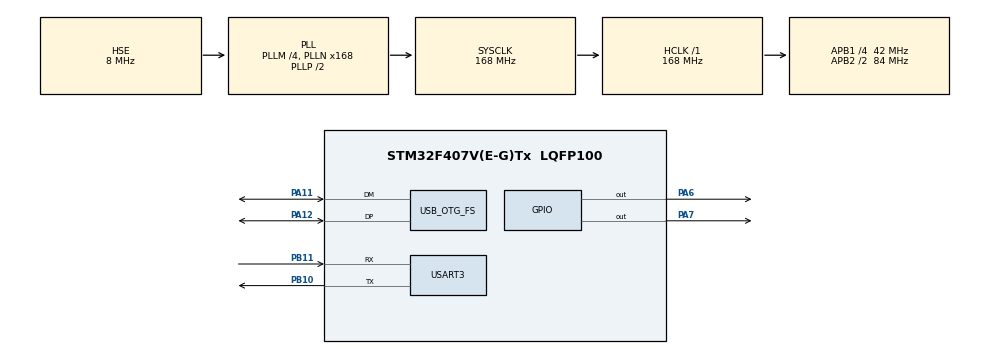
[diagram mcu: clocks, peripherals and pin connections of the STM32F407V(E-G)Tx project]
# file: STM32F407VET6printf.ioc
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Dma.Request0=USART3_RX
Dma.Request1=USART3_TX
Dma.USART3_RX.0.Direction=DMA_PERIPH_TO_MEMORY
Dma.USART3_RX.0.FIFOMode=DMA_FIFOMODE_DISABLE
Dma.USART3_RX.0.Instance=DMA1_Stream1
Dma.USART3_RX.0.MemDataAlignment=DMA_MDATAALIGN_BYTE
Dma.USART3_RX.0.MemInc=DMA_MINC_ENABLE
Dma.USART3_RX.0.Mode=DMA_NORMAL
Dma.USART3_RX.0.PeriphDataAlignment=DMA_PDATAALIGN_BYTE
Dma.USART3_RX.0.PeriphInc=DMA_PINC_DISABLE
Dma.USART3_RX.0.Priority=DMA_PRIORITY_LOW
Dma.USART3_TX.1.Direction=DMA_MEMORY_TO_PERIPH
Dma.USART3_TX.1.FIFOMode=DMA_FIFOMODE_DISABLE
Dma.USART3_TX.1.Instance=DMA1_Stream3
Dma.USART3_TX.1.MemDataAlignment=DMA_MDATAALIGN_BYTE
Dma.USART3_TX.1.MemInc=DMA_MINC_ENABLE
Dma.USART3_TX.1.Mode=DMA_NORMAL
Dma.USART3_TX.1.PeriphDataAlignment=DMA_PDATAALIGN_BYTE
Dma.USART3_TX.1.PeriphInc=DMA_PINC_DISABLE
Dma.USART3_TX.1.Priority=DMA_PRIORITY_LOW
Mcu.Family=STM32F4
Mcu.Name=STM32F407V(E-G)Tx
Mcu.Package=LQFP100
NVIC.DMA1_Stream1_IRQn=true\:0\:0\:false\:false\:true\:false\:true
NVIC.DMA1_Stream3_IRQn=true\:0\:0\:false\:false\:true\:false\:true
NVIC.OTG_FS_IRQn=true\:0\:0\:false\:false\:true\:false\:true
NVIC.PriorityGroup=NVIC_PRIORITYGROUP_4
NVIC.USART3_IRQn=true\:0\:0\:false\:false\:true\:true\:true
PA11.Mode=Device_Only
PA11.Signal=USB_OTG_FS_DM
PA12.Mode=Device_Only
PA12.Signal=USB_OTG_FS_DP
PA13.Mode=Serial_Wire
PA13.Signal=SYS_JTMS-SWDIO
PA14.Mode=Serial_Wire
PA14.Signal=SYS_JTCK-SWCLK
PA6.GPIO_PuPd=GPIO_PULLUP
PA6.Signal=GPIO_Output
PA7.GPIO_PuPd=GPIO_PULLUP
PA7.Signal=GPIO_Output
PB10.Mode=Asynchronous
PB10.Signal=USART3_TX
PB11.Mode=Asynchronous
PB11.Signal=USART3_RX
PH0-OSC_IN.Mode=HSE-External-Oscillator
PH0-OSC_IN.Signal=RCC_OSC_IN
PH1-OSC_OUT.Mode=HSE-External-Oscillator
PH1-OSC_OUT.Signal=RCC_OSC_OUT
ProjectManager.HeapSize=0x400
ProjectManager.StackSize=0x800
ProjectManager.TargetToolchain=MDK-ARM V5.27
RCC.48MHZClocksFreq_Value=48000000
RCC.AHBFreq_Value=168000000
RCC.APB1CLKDivider=RCC_HCLK_DIV4
RCC.APB1Freq_Value=42000000
RCC.APB1TimFreq_Value=84000000
RCC.APB2CLKDivider=RCC_HCLK_DIV2
RCC.APB2Freq_Value=84000000
RCC.APB2TimFreq_Value=168000000
RCC.CortexFreq_Value=168000000
RCC.HCLKFreq_Value=168000000
RCC.HSE_VALUE=8000000
RCC.HSI_VALUE=16000000
RCC.LSE_VALUE=32768
RCC.PLLM=4
RCC.PLLN=168
RCC.PLLQ=7
RCC.SYSCLKFreq_VALUE=168000000
RCC.SYSCLKSource=RCC_SYSCLKSOURCE_PLLCLK
RCC.VCOOutputFreq_Value=336000000
USART3.VirtualMode=VM_ASYNC
USB_DEVICE.CLASS_NAME_FS=CDC
USB_DEVICE.VirtualMode-CDC_FS=Cdc
USB_DEVICE.VirtualModeFS=Cdc_FS
USB_OTG_FS.VirtualMode=Device_Only
VP_USB_DEVICE_VS_USB_DEVICE_CDC_FS.Mode=CDC_FS
board=custom

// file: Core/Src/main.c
/* USER CODE BEGIN Header */
/**
  ******************************************************************************
  * @file           : main.c
  * @brief          : Main program body
  ******************************************************************************
  * @attention
  *
  * <h2><center>&copy; Copyright (c) 2020 STMicroelectronics.
  * All rights reserved.</center></h2>
  *
  * This software component is licensed by ST under Ultimate Liberty license
  * SLA0044, the "License"; You may not use this file except in compliance with
  * the License. You may obtain a copy of the License at:
  *                             www.st.com/SLA0044
  *
  ******************************************************************************
  */
/* USER CODE END Header */
#include "main.h"
#include "usb_device.h"

/* USER CODE BEGIN PTD */

#include <stdio.h>
#include <stdlib.h>
#include <string.h>

//Debug mode On/Off switch
#define DEBUG                   1 //set=0, disable all LOG lines

//select one of the following "printf" retarget methods
#define PRINTF_UART             0 //printf using UART port, 1-use this, 0-not
#define PRINTF_RTT              1 //printf using Segger RTT, 1-use this, 0-not
#define PRINTF_SWO              0 //printf using SWO port, 1-use this, 0-not
#define PRINTF_CDC              0 //printf using USBD_CDC, 1-use this, 0-not

#if ((PRINTF_UART + PRINTF_CDC + PRINTF_SWO + PRINTF_RTT) != 1)
#error "!!!!!! printf retarget function Not define or Multi-defined !!!!!!"
#endif

#if DEBUG
  #if PRINTF_RTT
    #include "SEGGER_RTT.h"
    #define LOG(format, args...)  SEGGER_RTT_printf(0, "[%s:%d] "format, __FILE__, __LINE__, ##args)
    #define printf(format, args...)  SEGGER_RTT_printf(0, format, ##args)

  #else //#if PRINTF_RTT
    #define LOG(format, args...)  printf("[%s:%d] "format, __FILE__, __LINE__, ##args)

    #if PRINTF_CDC
    #include "usbd_cdc_if.h"
    #endif

    int fputc(int ch, FILE *f)
    {
      #if PRINTF_UART
        HAL_UART_Transmit(&huart3, (uint8_t*)(&ch), 1, 1000); //UART3

      #elif PRINTF_SWO
        ITM_SendChar(ch);

      #elif PRINTF_CDC
        uint8_t u8Temp = 0;
        while(CDC_Transmit_FS((uint8_t*)(&ch), 1) != USBD_OK)
        {
          HAL_Delay(1);
          if (++u8Temp >= 3) break;
        }
      #endif //#if PRINTF_UART

      return(ch);
    }
  #endif //#if PRINTF_RTT

#else //#if DEBUG == 0
  #define LOG(args...) //disable all LOGs when compiling
#endif //#if DEBUG

/* USER CODE END PTD */

UART_HandleTypeDef huart3;
DMA_HandleTypeDef hdma_usart3_rx;
DMA_HandleTypeDef hdma_usart3_tx;

void SystemClock_Config(void);
static void MX_GPIO_Init(void);
static void MX_DMA_Init(void);
static void MX_USART3_UART_Init(void);

int main(void)
{
  /* USER CODE BEGIN 1 */
  uint32_t u32Counter = 0;

  /* USER CODE END 1 */

  /* MCU Configuration--------------------------------------------------------*/

  /* Reset of all peripherals, Initializes the Flash interface and the Systick. */
  HAL_Init();

  /* Configure the system clock */
  SystemClock_Config();

  /* Initialize all configured peripherals */
  MX_GPIO_Init();
  MX_DMA_Init();
  MX_USART3_UART_Init();
  MX_USB_DEVICE_Init();

  /* Infinite loop */
  while (1)
  {

    /* USER CODE BEGIN 3 */

    LOG("LOG test, Cnt = %08X\r\n\r\n", u32Counter);
    u32Counter++;

    //LED blink, PA6
    HAL_GPIO_WritePin(GPIOA, GPIO_PIN_6, GPIO_PIN_RESET);
    HAL_Delay(100);
    HAL_GPIO_WritePin(GPIOA, GPIO_PIN_6, GPIO_PIN_SET);
    HAL_Delay(900);

  }
  /* USER CODE END 3 */
}

void SystemClock_Config(void)
{
  RCC_OscInitTypeDef RCC_OscInitStruct = {0};
  RCC_ClkInitTypeDef RCC_ClkInitStruct = {0};

  /** Configure the main internal regulator output voltage
  */
  __HAL_RCC_PWR_CLK_ENABLE();
  __HAL_PWR_VOLTAGESCALING_CONFIG(PWR_REGULATOR_VOLTAGE_SCALE1);
  /** Initializes the RCC Oscillators according to the specified parameters
  * in the RCC_OscInitTypeDef structure.
  */
  RCC_OscInitStruct.OscillatorType = RCC_OSCILLATORTYPE_HSE;
  RCC_OscInitStruct.HSEState = RCC_HSE_ON;
  RCC_OscInitStruct.PLL.PLLState = RCC_PLL_ON;
  RCC_OscInitStruct.PLL.PLLSource = RCC_PLLSOURCE_HSE;
  RCC_OscInitStruct.PLL.PLLM = 4;
  RCC_OscInitStruct.PLL.PLLN = 168;
  RCC_OscInitStruct.PLL.PLLP = RCC_PLLP_DIV2;
  RCC_OscInitStruct.PLL.PLLQ = 7;
  if (HAL_RCC_OscConfig(&RCC_OscInitStruct) != HAL_OK)
  {
    Error_Handler();
  }
  /** Initializes the CPU, AHB and APB buses clocks
  */
  RCC_ClkInitStruct.ClockType = RCC_CLOCKTYPE_HCLK|RCC_CLOCKTYPE_SYSCLK
                              |RCC_CLOCKTYPE_PCLK1|RCC_CLOCKTYPE_PCLK2;
  RCC_ClkInitStruct.SYSCLKSource = RCC_SYSCLKSOURCE_PLLCLK;
  RCC_ClkInitStruct.AHBCLKDivider = RCC_SYSCLK_DIV1;
  RCC_ClkInitStruct.APB1CLKDivider = RCC_HCLK_DIV4;
  RCC_ClkInitStruct.APB2CLKDivider = RCC_HCLK_DIV2;

  if (HAL_RCC_ClockConfig(&RCC_ClkInitStruct, FLASH_LATENCY_5) != HAL_OK)
  {
    Error_Handler();
  }
}

static void MX_USART3_UART_Init(void)
{

  huart3.Instance = USART3;
  huart3.Init.BaudRate = 115200;
  huart3.Init.WordLength = UART_WORDLENGTH_8B;
  huart3.Init.StopBits = UART_STOPBITS_1;
  huart3.Init.Parity = UART_PARITY_NONE;
  huart3.Init.Mode = UART_MODE_TX_RX;
  huart3.Init.HwFlowCtl = UART_HWCONTROL_NONE;
  huart3.Init.OverSampling = UART_OVERSAMPLING_16;
  if (HAL_UART_Init(&huart3) != HAL_OK)
  {
    Error_Handler();
  }

}

static void MX_DMA_Init(void)
{

  /* DMA controller clock enable */
  __HAL_RCC_DMA1_CLK_ENABLE();

  /* DMA interrupt init */
  /* DMA1_Stream1_IRQn interrupt configuration */
  HAL_NVIC_SetPriority(DMA1_Stream1_IRQn, 0, 0);
  HAL_NVIC_EnableIRQ(DMA1_Stream1_IRQn);
  /* DMA1_Stream3_IRQn interrupt configuration */
  HAL_NVIC_SetPriority(DMA1_Stream3_IRQn, 0, 0);
  HAL_NVIC_EnableIRQ(DMA1_Stream3_IRQn);

}

static void MX_GPIO_Init(void)
{
  GPIO_InitTypeDef GPIO_InitStruct = {0};

  /* GPIO Ports Clock Enable */
  __HAL_RCC_GPIOH_CLK_ENABLE();
  __HAL_RCC_GPIOA_CLK_ENABLE();
  __HAL_RCC_GPIOB_CLK_ENABLE();

  /*Configure GPIO pin Output Level */
  HAL_GPIO_WritePin(GPIOA, GPIO_PIN_6|GPIO_PIN_7, GPIO_PIN_RESET);

  /*Configure GPIO pins : PA6 PA7 */
  GPIO_InitStruct.Pin = GPIO_PIN_6|GPIO_PIN_7;
  GPIO_InitStruct.Mode = GPIO_MODE_OUTPUT_PP;
  GPIO_InitStruct.Pull = GPIO_PULLUP;
  GPIO_InitStruct.Speed = GPIO_SPEED_FREQ_LOW;
  HAL_GPIO_Init(GPIOA, &GPIO_InitStruct);

}

void Error_Handler(void)
{
  __disable_irq();
  while (1)
  {
  }
}

#ifdef  USE_FULL_ASSERT
/**
  * @brief  Reports the name of the source file and the source line number
  *         where the assert_param error has occurred.
  * @param  file: pointer to the source file name
  * @param  line: assert_param error line source number
  * @retval None
  */
void assert_failed(uint8_t *file, uint32_t line)
{
  /* USER CODE BEGIN 6 */
  /* User can add his own implementation to report the file name and line number,
     ex: printf("Wrong parameters value: file %s on line %d\r\n", file, line) */
  printf("Wrong parameters value: file %s on line %d\r\n", file, line);
  /* USER CODE END 6 */
}
#endif /* USE_FULL_ASSERT */

/************************ (C) COPYRIGHT STMicroelectronics *****END OF FILE****/
